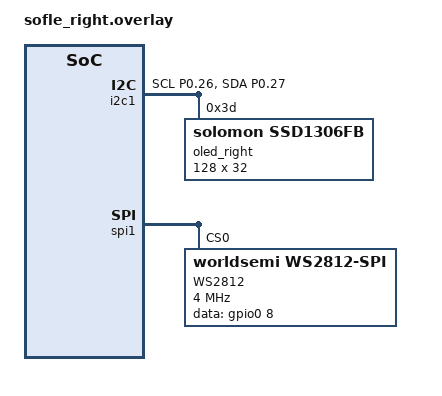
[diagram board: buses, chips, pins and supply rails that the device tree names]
&pinctrl {
    i2c1_default: i2c1_default {
        group1 {
            psels = <NRF_PSEL(TWIM_SCL, 0, 26)>, <NRF_PSEL(TWIM_SDA, 0, 27)>;
        };
    };
};
/* I²C für OLEDs */
&i2c1 {
    status = "okay";
    pinctrl-0 = <&i2c1_default>;
    pinctrl-names = "default";

    /* Linkes OLED auf rechter Seite deaktiviert */
    oled_left: ssd1306@3c {
        compatible = "solomon,ssd1306fb";
        reg = <0x3c>;
        label = "OLED_LEFT";
        width = <128>;
        height = <32>;
        status = "disabled";
    };

    oled_right: ssd1306@3d {
        compatible = "solomon,ssd1306fb";
        reg = <0x3d>;
        width = <128>;
        height = <32>;
        segment-offset = <0>;
        page-offset = <0>;
        status = "okay";
    };
};

/* SK6812 LEDs */
&spi1 {
    status = "okay";
    ws2812: ws2812@0 {
        compatible = "worldsemi,ws2812-spi";
        reg = <0>;
        label = "WS2812";
        spi-max-frequency = <4000000>;
        chain-length = <30>; /* Anzahl deiner LEDs */
        data-gpios = <&gpio0 8 GPIO_ACTIVE_HIGH>;
        status = "okay";
    };
};
